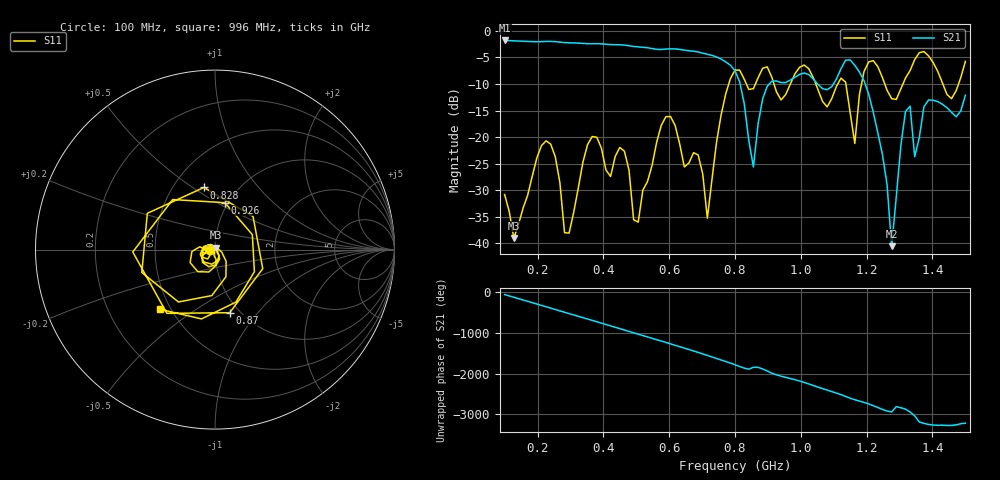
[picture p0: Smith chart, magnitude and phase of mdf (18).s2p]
! NanoVNA-App
! Date: 2025-09-25 15:38:34
! Start: 100MHz Stop: 1,5GHz Points: 101
! S-Parameter data: F S11 S21 S12 S22
# Hz S RI R 50
!  Frequency  S11_Real  S11_Imag  S21_Real  S21_Imag  S12_Real  S12_Imag  S22_Real  S22_Imag
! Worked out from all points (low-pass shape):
!   101 points, 100 MHz to 1.5 GHz, reference 50 ohm
!   highest |S21| = -1.80 dB at 100 MHz (marker M1); lowest = -40.5 dB at 1.276 GHz (marker M2)
!   |S21| within 3 dB of the highest: start of sweep to 739.1 MHz
!   lowest |S11| = -39.0 dB at 128 MHz (marker M3), VSWR 1.02, Z = 50.3 + j1.08 ohm
!   |S11| at or under -10 dB: start of sweep to 780.9 MHz; 918.4 MHz to 968.3 MHz (49.83 MHz wide, 5.28 % of centre); 1.045 GHz to 1.112 GHz (66.79 MHz wide, 6.19 % of centre) (the widest 3 of 7)
!   S12 and S22 are empty: the file has one direction only
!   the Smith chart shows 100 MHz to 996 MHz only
!   S11 on the Smith chart (normalised r, x): 100 MHz: 0.94, -0.01; 828 MHz: 0.70, +0.55; 870 MHz: 0.90, -0.73; 926 MHz: 0.97, +0.54; 996 MHz: 0.44, -0.36
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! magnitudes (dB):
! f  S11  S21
! 100 MHz  -30.8  -1.8
! 128 MHz  -39.0  -1.9
! 212 MHz  -21.6  -2.0
! 282 MHz  -38.0  -2.2
! 338 MHz  -24.7  -2.4
! 464 MHz  -22.6  -2.7
! 506 MHz  -36.0  -3.0
! 576 MHz  -17.8  -3.5
! 716 MHz  -35.3  -4.4
! 800 MHz  -7.4  -7.5
! 828 MHz  -9.1  -13.7
! 856 MHz  -10.9  -25.6
! 870 MHz  -8.9  -17.6
! 926 MHz  -11.5  -9.4
! 996 MHz  -6.9  -8.2
! 1.038 GHz  -8.8  -9.1
! 1.164 GHz  -21.2  -6.5
! 1.192 GHz  -7.7  -9.4
! 1.276 GHz  -12.8  -40.5
! 1.318 GHz  -8.9  -15.2
! 1.346 GHz  -5.4  -23.7
! 1.5 GHz  -5.7  -12.1
